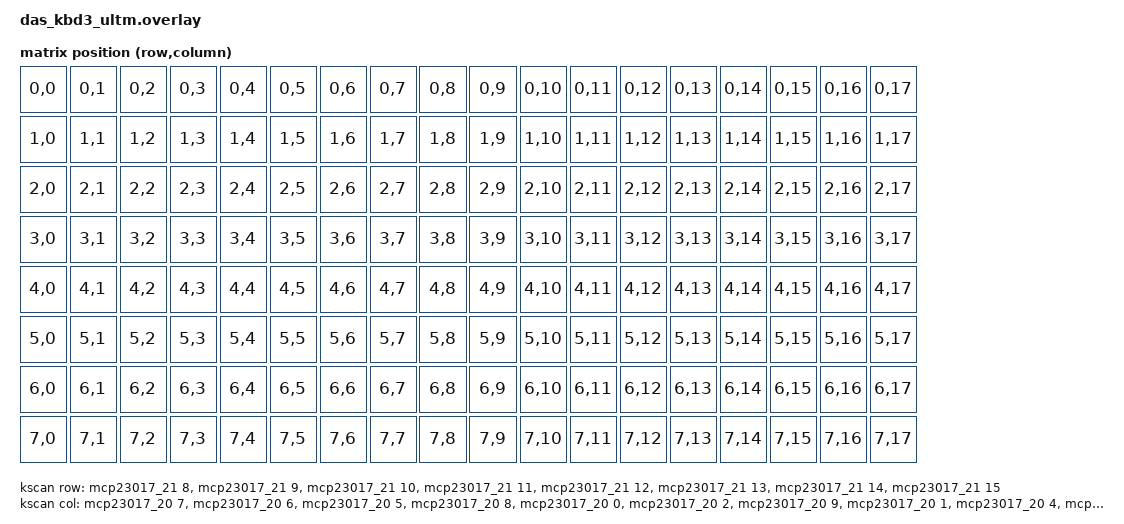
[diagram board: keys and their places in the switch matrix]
// Das Keyboard 3.0 Ultimate — ZMK shield overlay
// Controller: Pro Micro nRF52840 v2.0 (Nice!Nano compatible)
// Matrix: 18 columns × 8 rows, row2col, diodes per switch
// GPIO expansion: 2× MCP23017 on I²C (0x20, 0x21)
// IDC connector: 26-pin 2×13, 2.54mm pitch

#include <dt-bindings/zmk/matrix_transform.h>
#include <dt-bindings/zmk/hid_indicators.h>

#include "das_kbd3_ultm.dtsi"

/ {
    chosen {
        zmk,physical-layout   = &default_layout;
      // zephyr,display     = &ssd1306;        /* TEMPORARILY DISABLED — OLED disconnected */
      // zmk,battery         = &max17048;       /* TEMPORARILY DISABLED — MAX17048 disconnected */
    };

    // -------------------------------------------------------------------------
    // Key scan — MCP23017 #0 = 16 columns (C0–C11, C13, C14, C16, C17), MCP23017 #1 = 8 rows
    //             C12 and C15 connect directly to nRF52840 GPIO with ext. 10 kΩ pull-down
    //
    // ZMK mcp23xxx driver: pin index 0–7 = GPA0–GPA7, 8–15 = GPB0–GPB7
    //
    // MCP23017 (0x20) — &mcp23017_20  (cols C0–C11, C13, C14, C16, C17 — scrambled routing):
    //   GPA7 (idx  7) → C0  → IDC  8   ext. 10 kΩ pull-down to GND
    //   GPA6 (idx  6) → C1  → IDC  7   ext. 10 kΩ pull-down to GND
    //   GPA5 (idx  5) → C2  → IDC  6   ext. 10 kΩ pull-down to GND
    //   GPB0 (idx  8) → C3  → IDC  9   ext. 10 kΩ pull-down to GND
    //   GPA0 (idx  0) → C4  → IDC  1   ext. 10 kΩ pull-down to GND
    //   GPA2 (idx  2) → C5  → IDC  3   ext. 10 kΩ pull-down to GND
    //   GPB1 (idx  9) → C6  → IDC 10   ext. 10 kΩ pull-down to GND
    //   GPA1 (idx  1) → C7  → IDC  2   ext. 10 kΩ pull-down to GND
    //   GPA4 (idx  4) → C8  → IDC  5   ext. 10 kΩ pull-down to GND
    //   GPA3 (idx  3) → C9  → IDC  4   ext. 10 kΩ pull-down to GND
    //   GPB3 (idx 11) → C10 → IDC 14   ext. 10 kΩ pull-down to GND
    //   GPB4 (idx 12) → C11 → IDC 15   ext. 10 kΩ pull-down to GND
    //   GPB7 (idx 15) → C13 → IDC 24   ext. 10 kΩ pull-down to GND
    //   GPB2 (idx 10) → C14 → IDC 13   ext. 10 kΩ pull-down to GND
    //   GPB5 (idx 13) → C16 → IDC 20   ext. 10 kΩ pull-down to GND
    //   GPB6 (idx 14) → C17 → IDC 23   ext. 10 kΩ pull-down to GND
    //   INTB → D5/P0.24  (4.7 kΩ ext. pull-up to 3.3V; IOCON.MIRROR=1 routes INTA+INTB → one wire)
    //
    // MCP23017 (0x21) — &mcp23017_21  (rows R0–R7, GPB only — output-only chip):
    //   GPA0–7 (idx  0–7)  → n/c  (unused)
    //   GPB0 (idx  8) → R0 → IDC 11   active-high driven output
    //   GPB1 (idx  9) → R1 → IDC 12   active-high driven output
    //   GPB2 (idx 10) → R2 → IDC 16   active-high driven output
    //   GPB3 (idx 11) → R3 → IDC 17   active-high driven output
    //   GPB4 (idx 12) → R4 → IDC 18   active-high driven output
    //   GPB5 (idx 13) → R5 → IDC 19   active-high driven output
    //   GPB6 (idx 14) → R6 → IDC 21   active-high driven output
    //   GPB7 (idx 15) → R7 → IDC 22   active-high driven output
    //   No int-gpios (output-only chip — row drives never trigger column interrupts)
    //
    // nRF52840 direct GPIO (col inputs — ext. 10 kΩ pull-down + nRF internal pull-down):
    //   D6  / P1.00 (gpio1 pin  0) → C12 → IDC 25
    //   D10 / P0.09 (gpio0 pin  9) → C15 → IDC 26
    // -------------------------------------------------------------------------
    kscan: kscan {
        compatible = "zmk,kscan-gpio-matrix";
        diode-direction = "row2col";
        wakeup-source;
        // debounce-press-ms = <10>;
        // debounce-release-ms = <10>;

        col-gpios
            = <&mcp23017_20  7 GPIO_ACTIVE_HIGH>  /* C0  - IDC pin  8  MCP0.GPA7 — ext. 10 kΩ pull-down to GND */
            , <&mcp23017_20  6 GPIO_ACTIVE_HIGH>  /* C1  - IDC pin  7  MCP0.GPA6 — ext. 10 kΩ pull-down to GND */
            , <&mcp23017_20  5 GPIO_ACTIVE_HIGH>  /* C2  - IDC pin  6  MCP0.GPA5 — ext. 10 kΩ pull-down to GND */
            , <&mcp23017_20  8 GPIO_ACTIVE_HIGH>  /* C3  - IDC pin  9  MCP0.GPB0 — ext. 10 kΩ pull-down to GND */
            , <&mcp23017_20  0 GPIO_ACTIVE_HIGH>  /* C4  - IDC pin  1  MCP0.GPA0 — ext. 10 kΩ pull-down to GND */
            , <&mcp23017_20  2 GPIO_ACTIVE_HIGH>  /* C5  - IDC pin  3  MCP0.GPA2 — ext. 10 kΩ pull-down to GND */
            , <&mcp23017_20  9 GPIO_ACTIVE_HIGH>  /* C6  - IDC pin 10  MCP0.GPB1 — ext. 10 kΩ pull-down to GND */
            , <&mcp23017_20  1 GPIO_ACTIVE_HIGH>  /* C7  - IDC pin  2  MCP0.GPA1 — ext. 10 kΩ pull-down to GND */
            , <&mcp23017_20  4 GPIO_ACTIVE_HIGH>  /* C8  - IDC pin  5  MCP0.GPA4 — ext. 10 kΩ pull-down to GND */
            , <&mcp23017_20  3 GPIO_ACTIVE_HIGH>  /* C9  - IDC pin  4  MCP0.GPA3 — ext. 10 kΩ pull-down to GND */
            , <&mcp23017_20 11 GPIO_ACTIVE_HIGH>  /* C10 - IDC pin 14  MCP0.GPB3 — ext. 10 kΩ pull-down to GND */
            , <&mcp23017_20 12 GPIO_ACTIVE_HIGH>  /* C11 - IDC pin 15  MCP0.GPB4 — ext. 10 kΩ pull-down to GND */
            , <&gpio1 0 (GPIO_ACTIVE_HIGH | GPIO_PULL_DOWN)>  /* C12 - IDC pin 25  D6/P1.00  — ext. 10 kΩ pull-down to GND (nRF internal pull-down also present) */
            , <&mcp23017_20 15 GPIO_ACTIVE_HIGH>  /* C13 - IDC pin 24  MCP0.GPB7 — ext. 10 kΩ pull-down to GND */
            , <&mcp23017_20 10 GPIO_ACTIVE_HIGH>  /* C14 - IDC pin 13  MCP0.GPB2 — ext. 10 kΩ pull-down to GND */
            , <&gpio0 9 (GPIO_ACTIVE_HIGH | GPIO_PULL_DOWN)>  /* C15 - IDC pin 26  D10/P0.09 — ext. 10 kΩ pull-down to GND (nRF internal pull-down also present) */
            , <&mcp23017_20 13 GPIO_ACTIVE_HIGH>  /* C16 - IDC pin 20  MCP0.GPB5 — ext. 10 kΩ pull-down to GND */
            , <&mcp23017_20 14 GPIO_ACTIVE_HIGH>  /* C17 - IDC pin 23  MCP0.GPB6 — ext. 10 kΩ pull-down to GND */
            ;

        row-gpios
            = <&mcp23017_21  8 GPIO_ACTIVE_HIGH>  /* R0 - IDC pin 11  MCP1.GPB0 — active-high driven output */
            , <&mcp23017_21  9 GPIO_ACTIVE_HIGH>  /* R1 - IDC pin 12  MCP1.GPB1 — active-high driven output */
            , <&mcp23017_21 10 GPIO_ACTIVE_HIGH>  /* R2 - IDC pin 16  MCP1.GPB2 — active-high driven output */
            , <&mcp23017_21 11 GPIO_ACTIVE_HIGH>  /* R3 - IDC pin 17  MCP1.GPB3 — active-high driven output */
            , <&mcp23017_21 12 GPIO_ACTIVE_HIGH>  /* R4 - IDC pin 18  MCP1.GPB4 — active-high driven output */
            , <&mcp23017_21 13 GPIO_ACTIVE_HIGH>  /* R5 - IDC pin 19  MCP1.GPB5 — active-high driven output */
            , <&mcp23017_21 14 GPIO_ACTIVE_HIGH>  /* R6 - IDC pin 21  MCP1.GPB6 — active-high driven output */
            , <&mcp23017_21 15 GPIO_ACTIVE_HIGH>  /* R7 - IDC pin 22  MCP1.GPB7 — active-high driven output */
            ;
    };

    // -------------------------------------------------------------------------
    // Matrix transform — 18 columns × 8 rows, 104 keys
    //
    // RC(row, col):
    //   col = index into col-gpios list above (0 = C0 … 17 = C17)
    //   row = index into row-gpios list above (0 = R0 … 7  = R7)
    //
    // Columns (col index):
    //   C0 (0) : ESC ` Tab 1 Q A Z
    //   C1 (1) : F1 2 W S X CapsLk
    //   C2 (2) : F2 F3 F4 3 E D C
    //   C3 (3) : F5 Pause LCtrl RCtrl
    //   C4 (4) : F6 8 I K , =+ ]}
    //   C5 (5) : F7 F8 9 O L . Apps
    //   C6 (6) : F9 F10 F11 F12 BkSpc \ Enter
    //   C7 (7) : PrtSc ScLk LAlt RAlt
    //   C8 (8) : 4 5 R T F G V B
    //   C9 (9) : 6 7 Y U H J N M
    //   C10(10): 0 - P [{ ' ; /?
    //   C11(11): Space NumLk Num7 Num4 Num1 Down Del
    //   C12(12): LShft RShft
    //   C13(13): LWin
    //   C14(14): Ins Right Num0 Num2 Num5 Num8 Num/
    //   C15(15): Home End Up Left Num+ NumEnt
    //   C16(16): PgUp PgDn Num* Num9 Num6 Num3 Num. Num-
    //   C17(17): RWin
    //
    // Rows (row index):
    //   R0(0): ESC F4 F6 F11 LAlt Space H G ' Up Num0 Num.
    //   R1(1): PrtSc F10 0 9 8 7 F5 4 3 2 1 PgDn End
    //   R2(2): PgUp Home Del Ins =+ -_ F9 F8 6 5 F2 F1 ` LCtrl
    //   R3(3): NumEnt Num3 Num2 Num1 RShft RWin \ ; L K J F D S A
    //   R4(4): Num5 Num6 Num4 BkSpc ]} [{ F7 T Y F3 Tab CapsLk LShft LWin
    //   R5(5): Num9 Num+ Num8 Num7 Pause ScLk P O I U R E W Q
    //   R6(6): Num/ NumLk Num* RCtrl V C X Z M , . Enter
    //   R7(7): Num- Right Down Left Apps /? RAlt N B F12
    // -------------------------------------------------------------------------
    default_transform: default_transform {
         compatible = "zmk,matrix-transform";
         columns = <18>;
         rows = <8>;

         map = <
        // ── R0: C0      C1       C2       C3       C4       C5       C6       C7       C8       C9       C10      C11      C12      C13      C14      C15      C16      C17
        //       ESC      -        F4       -        F6       -        F11      LAlt     G        H        '        Space    -        -        KP0      Up       KP.      -
           RC(0,0)  RC(0,1)  RC(0,2)  RC(0,3)  RC(0,4)  RC(0,5)  RC(0,6)  RC(0,7)  RC(0,8)  RC(0,9)  RC(0,10) RC(0,11) RC(0,12) RC(0,13) RC(0,14) RC(0,15) RC(0,16) RC(0,17)
        // ── R1: N1       N2       N3       F5       N8       N9       F10      PrtSc    N4       N7       N0       -        -        -        -        End      PgDn     -
           RC(1,0)  RC(1,1)  RC(1,2)  RC(1,3)  RC(1,4)  RC(1,5)  RC(1,6)  RC(1,7)  RC(1,8)  RC(1,9)  RC(1,10) RC(1,11) RC(1,12) RC(1,13) RC(1,14) RC(1,15) RC(1,16) RC(1,17)
        // ── R2: `        F1       F2       LCtrl    =        F8       F9       -        N5       N6       -        Del      -        -        Ins      Home     PgUp     -
           RC(2,0)  RC(2,1)  RC(2,2)  RC(2,3)  RC(2,4)  RC(2,5)  RC(2,6)  RC(2,7)  RC(2,8)  RC(2,9)  RC(2,10) RC(2,11) RC(2,12) RC(2,13) RC(2,14) RC(2,15) RC(2,16) RC(2,17)
        // ── R3: A        S        D        -        K        L        \        -        F        J        ;        KP1      RShft    -        KP2      KPEnt    KP3      RWin
           RC(3,0)  RC(3,1)  RC(3,2)  RC(3,3)  RC(3,4)  RC(3,5)  RC(3,6)  RC(3,7)  RC(3,8)  RC(3,9)  RC(3,10) RC(3,11) RC(3,12) RC(3,13) RC(3,14) RC(3,15) RC(3,16) RC(3,17)
        // ── R4: Tab      Caps     F3       -        ]}       F7       BkSp     -        T        Y        [{       KP4      LShft    LWin     KP5      -        KP6      -
           RC(4,0)  RC(4,1)  RC(4,2)  RC(4,3)  RC(4,4)  RC(4,5)  RC(4,6)  RC(4,7)  RC(4,8)  RC(4,9)  RC(4,10) RC(4,11) RC(4,12) RC(4,13) RC(4,14) RC(4,15) RC(4,16) RC(4,17)
        // ── R5: Q        W        E        Pause    I        O        -        ScLk     R        U        P        KP7      -        -        KP8      KP+      KP9      -
           RC(5,0)  RC(5,1)  RC(5,2)  RC(5,3)  RC(5,4)  RC(5,5)  RC(5,6)  RC(5,7)  RC(5,8)  RC(5,9)  RC(5,10) RC(5,11) RC(5,12) RC(5,13) RC(5,14) RC(5,15) RC(5,16) RC(5,17)
        // ── R6: Z        X        C        RCtrl    ,        .        Enter    -        V        M        -        NumLk    -        -        KP/      -        KP*      -
           RC(6,0)  RC(6,1)  RC(6,2)  RC(6,3)  RC(6,4)  RC(6,5)  RC(6,6)  RC(6,7)  RC(6,8)  RC(6,9)  RC(6,10) RC(6,11) RC(6,12) RC(6,13) RC(6,14) RC(6,15) RC(6,16) RC(6,17)
        // ── R7: -        -        -        -        -        Apps     F12      RAlt     B        N        /?       Down     -        -        Right    Left     KP-      -
           RC(7,0)  RC(7,1)  RC(7,2)  RC(7,3)  RC(7,4)  RC(7,5)  RC(7,6)  RC(7,7)  RC(7,8)  RC(7,9)  RC(7,10) RC(7,11) RC(7,12) RC(7,13) RC(7,14) RC(7,15) RC(7,16) RC(7,17)
        >;
    };

    // -------------------------------------------------------------------------
    // HID lock-state indicator LEDs
    //
    // Wiring: 3.3V → 470Ω → LED → nRF52840 GPIO (current-sink).
    // GPIO LOW = LED ON  →  GPIO_ACTIVE_LOW.
    //
    //   Num Lock    → D7  / P0.11  (gpio0 pin 11)
    //   Caps Lock   → D8  / P1.04  (gpio1 pin  4)
    //   Scroll Lock → D9  / P1.06  (gpio1 pin  6)
    //
    // New ZMK API: zmk,indicator-leds node (zmk/app/dts/bindings/indicators/)
    // Each child maps a gpio-leds child phandle → HID_INDICATOR_* constant.
    // ZMK_INDICATOR_LEDS Kconfig is auto-enabled by DT_HAS_ZMK_INDICATOR_LEDS_ENABLED
    // when this node exists; CONFIG_ZMK_HID_INDICATORS=y is still required in .conf.
    // -------------------------------------------------------------------------
    leds {
        compatible = "gpio-leds";
        led_num_lock: led_num_lock {
            gpios = <&gpio0 11 GPIO_ACTIVE_LOW>;  /* D7  / P0.11 — 3.3V→470Ω→LED→GPIO */
        };
        led_caps_lock: led_caps_lock {
            gpios = <&gpio1 4 GPIO_ACTIVE_LOW>;   /* D8  / P1.04 — 3.3V→470Ω→LED→GPIO */
        };
        led_scroll_lock: led_scroll_lock {
            gpios = <&gpio1 6 GPIO_ACTIVE_LOW>;   /* D9  / P1.06 — 3.3V→470Ω→LED→GPIO */
        };
    };

    indicators {
        compatible = "zmk,indicator-leds";
        on-when-idle;

        num_lock_indicator {
            leds = <&led_num_lock>;
            indicator = <HID_INDICATOR_NUM_LOCK>;
        };
        caps_lock_indicator {
            leds = <&led_caps_lock>;
            indicator = <HID_INDICATOR_CAPS_LOCK>;   
        };
        scroll_lock_indicator {
            leds = <&led_scroll_lock>;
            indicator = <HID_INDICATOR_SCROLL_LOCK>;
        };
    };

    // -------------------------------------------------------------------------
    // Bootloader integration
    //
    // 1. Physical boot button — wire a momentary switch between P0.22 (Pro
    //    Micro D4) and GND.  In the keymap bind a combo to &bootloader.
    //    Change the GPIO if a different pin is physically connected.
    //
    // 2. Soft power-off waker — lets the keyboard matrix wake the MCU from
    //    ZMK software power-off (CONFIG_ZMK_PM_SOFT_OFF=y).  Required for
    //    the BLE sleep/wake cycle on battery-powered builds.
    // -------------------------------------------------------------------------
    boot_button: boot_button {
        compatible = "gpio-keys";
        status = "okay";
        boot_key: boot_key {
            label = "Bootloader Key";
            gpios = <&gpio0 22 (GPIO_ACTIVE_LOW | GPIO_PULL_UP)>;
        };
    };

    soft_off_wakers {
        compatible = "zmk,soft-off-wakeup-sources";
        wakeup-sources = <&kscan>;
    };
};

// -------------------------------------------------------------------------
// I²C bus — MCP23017 GPIO expanders, OLED, fuel gauge
//
// Pin assignment (nice_nano_v2 Pro Micro footprint):
//   SDA  →  P0.17  (Pro Micro D2)   — defined in board's i2c0_default pinctrl
//   SCL  →  P0.20  (Pro Micro D3)   — defined in board's i2c0_default pinctrl
//
// If using a custom nRF52840 board that does NOT pre-define i2c0_default,
// add a &pinctrl block here:
//
//   #include <dt-bindings/pinctrl/nrf-pinctrl.h>
//   &pinctrl {
//       i2c0_default: i2c0_default {
//           group1 { psels = <NRF_PSEL(TWIM_SDA, 0, 17)>,
//                            <NRF_PSEL(TWIM_SCL, 0, 20)>; bias-pull-up; }; };
//       i2c0_sleep: i2c0_sleep {
//           group1 { psels = <NRF_PSEL(TWIM_SDA, 0, 17)>,
//                            <NRF_PSEL(TWIM_SCL, 0, 20)>; low-power-enable; }; };
//   };
//
// Bus devices:  mcp23017@20, mcp23017@21, ssd1306@3c (128×32), max17048@36
// 4.7 kΩ pull-ups on SDA/SCL to 3.3 V required on the PCB (also re-enables OLED).
//
// MCP23017 interrupt wiring — one dedicated INT line per chip:
//
//   Each chip: IOCON.MIRROR=1 (INTA mirrors INTB, full 16-pin coverage from one pin)
//              IOCON.ODR=1    (open-drain INT output)
//   Fit one 4.7 kΩ pull-up resistor from each INT line to 3.3 V on the PCB.
//   The nRF52840 GPIO is configured without an internal pull-up (GPIO_ACTIVE_LOW only).
//
//   mcp23017@20  INTB ──── D5  / P0.24  (gpio0 pin 24)  — 4.7kΩ ext. pull-up to 3.3V on PCB
//   mcp23017@21  No INT line — output-only row driver; D6/P1.00 used for C12 nRF direct GPIO
//
//   MCP0 all 16 pins are col inputs (scrambled routing, see kscan comment block).
//   MCP0 INT fires when any col input goes HIGH (key press through diode, row held HIGH).
//   MCP1 GPB0-7 are driven outputs (row scan) — no interrupt needed on MCP1.
//
// MAX17048 ALRT interrupt wiring:
//   ALRT pin is open-drain, active-low.
//   The Adafruit MAX17048 STEMMA QT breakout already has a 10 kΩ pull-up to VIN onboard —
//   no external pull-up resistor is needed on the perfboard.
//   Connect ALRT → D0 / P0.08  (gpio0 pin 8).
//   GPIO_PULL_UP is kept as belt-and-suspenders; nRF internal ~13 kΩ || 10 kΩ = ~5.6 kΩ, fine.
//   alert-low-percent-threshold: 4  → ALRT fires below 4% SoC (register CONFIG[7:0]).
// -------------------------------------------------------------------------
&i2c0 {
    status = "okay";
    pinctrl-0 = <&i2c0_default>;
    pinctrl-1 = <&i2c0_sleep>;
    pinctrl-names = "default", "sleep";
    clock-frequency = <400000>;   /* 400 kHz fast-mode — 4 devices, keep bus fast */

    mcp23017_20: mcp23017@20 {
        compatible = "microchip,mcp23017";
        reg = <0x20>;
        gpio-controller;
        #gpio-cells = <2>;
        int-gpios = <&gpio0 24 GPIO_ACTIVE_LOW>;  /* INTB → D5/P0.24; 4.7 kΩ ext. pull-up to 3.3V */
        /* MCP0 col inputs — scrambled routing to match IDC physical wiring:
         *   GPA7(7)=C0(IDC8)  GPA6(6)=C1(IDC7)  GPA5(5)=C2(IDC6)  GPB0(8)=C3(IDC9)
         *   GPA0(0)=C4(IDC1)  GPA2(2)=C5(IDC3)  GPB1(9)=C6(IDC10) GPA1(1)=C7(IDC2)
         *   GPA4(4)=C8(IDC5)  GPA3(3)=C9(IDC4)  GPB3(11)=C10(IDC14) GPB4(12)=C11(IDC15)
         *   GPB7(15)=C13(IDC24) GPB2(10)=C14(IDC13) GPB5(13)=C16(IDC20) GPB6(14)=C17(IDC23)
         * C12(IDC25) and C15(IDC26) wired directly to nRF GPIO (gpio1 pin0, gpio0 pin9).
         * All MCP0 pins: ext. 10 kΩ pull-down to GND; IOCON.MIRROR=1; INTB→D5/P0.24.
         * A2=0 A1=0 A0=0 → 0x20 */
    };

    mcp23017_21: mcp23017@21 {
        compatible = "microchip,mcp23017";
        reg = <0x21>;
        gpio-controller;
        #gpio-cells = <2>;
        /* MCP1 GPB0-7 = row outputs R0-R7 (IDC pins 11,12,16,17,18,19,21,22)
         * MCP1 GPA0-7 = n/c (unused)
         * Output-only chip — no INT line needed. D6/P1.00 used for C12 (nRF direct GPIO).
         * A2=0 A1=0 A0=1 → 0x21 */
    };

   ssd1306: ssd1306@3c {
      compatible = "solomon,ssd1306fb";
      status = "disabled";     /* TEMPORARILY DISABLED — OLED physically disconnected */
      reg = <0x3c>;
        width = <128>;
        height = <32>;
        segment-offset = <0>;
        page-offset = <0>;
        display-offset = <0>;
        multiplex-ratio = <31>;  /* 32 rows − 1 */
        prechargep = <0x22>;
        com-invdir;              /* COM scan direction: remapped (top→bottom for
                                    DFRobot Fermion 0.91″ module)              */
    };

   max17048: max17048@36 {
      compatible = "zmk,maxim-max17048";
      status = "disabled";     /* TEMPORARILY DISABLED — MAX17048 physically disconnected */
      reg = <0x36>;
        /* ALRT open-drain → D0/P0.08.
         * Adafruit STEMMA QT board has 10 kΩ pull-up to VIN onboard — no external resistor needed.
         * GPIO_PULL_UP kept as belt-and-suspenders (nRF ~13 kΩ || board 10 kΩ = ~5.6 kΩ).
         * alert-low-percent-threshold configures the CONFIG register ATHD field.
         * The driver sets ATHD so ALRT fires below the threshold, then clears
         * STATUS.EnVR on re-read so the open-drain line deasserts.            */
        // alert-gpios = <&gpio0 8 (GPIO_ACTIVE_LOW | GPIO_PULL_UP)>;
        // alert-low-percent-threshold = <4>;
    };
};
